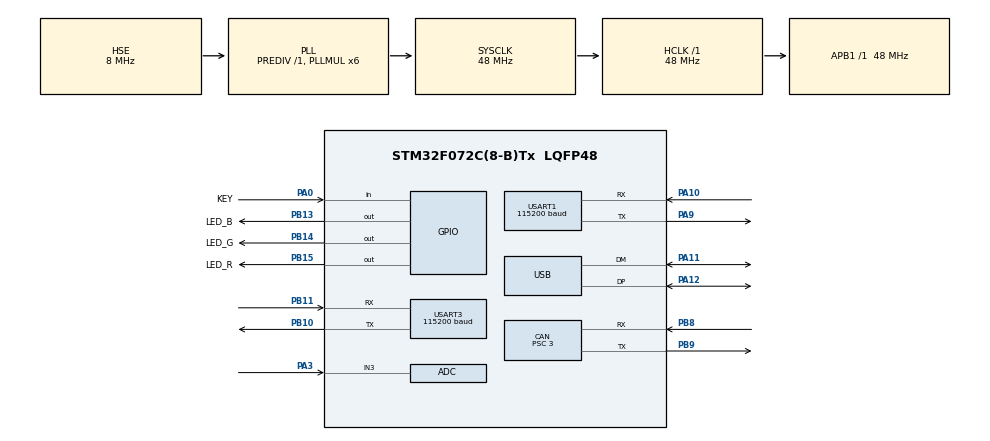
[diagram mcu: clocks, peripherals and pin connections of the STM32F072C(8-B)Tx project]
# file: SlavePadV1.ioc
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ADC.ContinuousConvMode=ENABLE
ADC.SamplingTime=ADC_SAMPLETIME_71CYCLES_5
CAN.BS1=CAN_BS1_10TQ
CAN.BS2=CAN_BS2_5TQ
CAN.CalculateBaudRate=1000000
CAN.CalculateTimeBit=1000.00
CAN.CalculateTimeQuantum=62.5
CAN.Prescaler=3
Mcu.Family=STM32F0
Mcu.Name=STM32F072C(8-B)Tx
Mcu.Package=LQFP48
NVIC.CEC_CAN_IRQn=true\:3\:0\:true\:false\:true\:true\:true
NVIC.TIM15_IRQn=true\:3\:0\:false\:false\:true\:false\:true
NVIC.TIM17_IRQn=true\:3\:0\:true\:false\:true\:true\:true
NVIC.TimeBase=TIM15_IRQn
NVIC.TimeBaseIP=TIM15
NVIC.USART1_IRQn=true\:3\:0\:true\:false\:true\:true\:true
NVIC.USART3_4_IRQn=true\:3\:0\:true\:false\:true\:true\:true
NVIC.USB_IRQn=true\:3\:0\:true\:false\:true\:false\:true
PA0.GPIO_Label=KEY
PA0.GPIO_PuPd=GPIO_PULLDOWN
PA0.Signal=GPIO_Input
PA10.Mode=Asynchronous
PA10.Signal=USART1_RX
PA11.Mode=Device
PA11.Signal=USB_DM
PA12.Mode=Device
PA12.Signal=USB_DP
PA13.Mode=Serial_Wire
PA13.Signal=SYS_SWDIO
PA14.Mode=Serial_Wire
PA14.Signal=SYS_SWCLK
PA3.Mode=IN3
PA3.Signal=ADC_IN3
PA9.Mode=Asynchronous
PA9.Signal=USART1_TX
PB10.Mode=Asynchronous
PB10.Signal=USART3_TX
PB11.Mode=Asynchronous
PB11.Signal=USART3_RX
PB13.GPIO_Label=LED_B
PB13.GPIO_Speed=GPIO_SPEED_FREQ_HIGH
PB13.PinState=GPIO_PIN_SET
PB13.Signal=GPIO_Output
PB14.GPIO_Label=LED_G
PB14.GPIO_Speed=GPIO_SPEED_FREQ_HIGH
PB14.PinState=GPIO_PIN_SET
PB14.Signal=GPIO_Output
PB15.GPIO_Label=LED_R
PB15.GPIO_Speed=GPIO_SPEED_FREQ_HIGH
PB15.PinState=GPIO_PIN_SET
PB15.Signal=GPIO_Output
PB8.Mode=CAN_Activate
PB8.Signal=CAN_RX
PB9.Mode=CAN_Activate
PB9.Signal=CAN_TX
PF0-OSC_IN.Mode=HSE-External-Oscillator
PF0-OSC_IN.Signal=RCC_OSC_IN
PF1-OSC_OUT.Mode=HSE-External-Oscillator
PF1-OSC_OUT.Signal=RCC_OSC_OUT
ProjectManager.HeapSize=0x200
ProjectManager.StackSize=0x400
ProjectManager.TargetToolchain=MDK-ARM V5.32
RCC.AHBFreq_Value=48000000
RCC.APB1Freq_Value=48000000
RCC.APB1TimFreq_Value=48000000
RCC.HCLKFreq_Value=48000000
RCC.PLLMUL=RCC_PLL_MUL6
RCC.PLLSourceVirtual=RCC_PLLSOURCE_HSE
RCC.SYSCLKFreq_VALUE=48000000
RCC.SYSCLKSource=RCC_SYSCLKSOURCE_PLLCLK
TIM17.AutoReloadPreload=TIM_AUTORELOAD_PRELOAD_ENABLE
TIM17.Period=1000-1
TIM17.Prescaler=48-1
USART1.BaudRate=115200
USART1.VirtualMode-Asynchronous=VM_ASYNC
USART3.BaudRate=115200
USART3.VirtualMode-Asynchronous=VM_ASYNC
USB_DEVICE.CLASS_NAME_FS=CDC
USB_DEVICE.VirtualMode=Cdc
USB_DEVICE.VirtualModeFS=Cdc_FS
VP_SYS_VS_tim15.Mode=TIM15
VP_TIM17_VS_ClockSourceINT.Mode=Enable_Timer
VP_USB_DEVICE_VS_USB_DEVICE_CDC_FS.Mode=CDC_FS
board=custom

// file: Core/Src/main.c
/* USER CODE BEGIN Header */
/**
  ******************************************************************************
  * @file           : main.c
  * @brief          : Main program body
  ******************************************************************************
  * @attention
  *
  * <h2><center>&copy; Copyright (c) 2024 STMicroelectronics.
  * All rights reserved.</center></h2>
  *
  * This software component is licensed by ST under Ultimate Liberty license
  * SLA0044, the "License"; You may not use this file except in compliance with
  * the License. You may obtain a copy of the License at:
  *                             www.st.com/SLA0044
  *
  ******************************************************************************
  */
/* USER CODE END Header */
#include "main.h"
#include "adc.h"
#include "can.h"
#include "tim.h"
#include "usart.h"
#include "usb_device.h"
#include "gpio.h"

/* USER CODE BEGIN Includes */
#include "Lime_canFliter.h"
#include "MotorTask.h"
#include "BspTask.h"
#include "BspInfo.h"
#include "DJI_Motor.h"
#include "ConnTask.h"
#include "stdio.h"
/* USER CODE END Includes */

void SystemClock_Config(void);

/* USER CODE BEGIN 0 */
extern void BspTask_Main(void const * argument);
/* USER CODE END 0 */

int main(void)
{

  /* MCU Configuration--------------------------------------------------------*/

  /* Reset of all peripherals, Initializes the Flash interface and the Systick. */
  HAL_Init();

  /* Configure the system clock */
  SystemClock_Config();

  /* Initialize all configured peripherals */
  MX_GPIO_Init();
  MX_ADC_Init();
  MX_USART1_UART_Init();
  MX_USB_DEVICE_Init();
  MX_CAN_Init();
  MX_TIM17_Init();
  MX_USART3_UART_Init();
  /* USER CODE BEGIN 2 */
	Lime_can_filter_init();
	DJI_Motor_Init();
	ScanBsp_Init();
	ConnTask_Init();
  /* USER CODE END 2 */

  /* Infinite loop */
  /* USER CODE BEGIN WHILE */
  while (1)
  {
		MotorTask_Handle(NULL);
		BspTask_Handle(NULL);
		ConnTask_Handle(NULL);

    /* USER CODE END WHILE */

  }
}

void SystemClock_Config(void)
{
  RCC_OscInitTypeDef RCC_OscInitStruct = {0};
  RCC_ClkInitTypeDef RCC_ClkInitStruct = {0};
  RCC_PeriphCLKInitTypeDef PeriphClkInit = {0};

  /** Initializes the RCC Oscillators according to the specified parameters
  * in the RCC_OscInitTypeDef structure.
  */
  RCC_OscInitStruct.OscillatorType = RCC_OSCILLATORTYPE_HSI14|RCC_OSCILLATORTYPE_HSI48
                              |RCC_OSCILLATORTYPE_HSE;
  RCC_OscInitStruct.HSEState = RCC_HSE_ON;
  RCC_OscInitStruct.HSI48State = RCC_HSI48_ON;
  RCC_OscInitStruct.HSI14State = RCC_HSI14_ON;
  RCC_OscInitStruct.HSI14CalibrationValue = 16;
  RCC_OscInitStruct.PLL.PLLState = RCC_PLL_ON;
  RCC_OscInitStruct.PLL.PLLSource = RCC_PLLSOURCE_HSE;
  RCC_OscInitStruct.PLL.PLLMUL = RCC_PLL_MUL6;
  RCC_OscInitStruct.PLL.PREDIV = RCC_PREDIV_DIV1;
  if (HAL_RCC_OscConfig(&RCC_OscInitStruct) != HAL_OK)
  {
    Error_Handler();
  }
  /** Initializes the CPU, AHB and APB buses clocks
  */
  RCC_ClkInitStruct.ClockType = RCC_CLOCKTYPE_HCLK|RCC_CLOCKTYPE_SYSCLK
                              |RCC_CLOCKTYPE_PCLK1;
  RCC_ClkInitStruct.SYSCLKSource = RCC_SYSCLKSOURCE_PLLCLK;
  RCC_ClkInitStruct.AHBCLKDivider = RCC_SYSCLK_DIV1;
  RCC_ClkInitStruct.APB1CLKDivider = RCC_HCLK_DIV1;

  if (HAL_RCC_ClockConfig(&RCC_ClkInitStruct, FLASH_LATENCY_1) != HAL_OK)
  {
    Error_Handler();
  }
  PeriphClkInit.PeriphClockSelection = RCC_PERIPHCLK_USB|RCC_PERIPHCLK_USART1;
  PeriphClkInit.Usart1ClockSelection = RCC_USART1CLKSOURCE_PCLK1;
  PeriphClkInit.UsbClockSelection = RCC_USBCLKSOURCE_HSI48;

  if (HAL_RCCEx_PeriphCLKConfig(&PeriphClkInit) != HAL_OK)
  {
    Error_Handler();
  }
}

void HAL_TIM_PeriodElapsedCallback(TIM_HandleTypeDef *htim)
{
  if (htim->Instance == TIM15) {
    HAL_IncTick();
  }
}

void Error_Handler(void)
{
  /* USER CODE BEGIN Error_Handler_Debug */
  /* User can add his own implementation to report the HAL error return state */
  __disable_irq();
	printf("Error_Handler\n");
  while (1)
  {
  }
  /* USER CODE END Error_Handler_Debug */
}

/************************ (C) COPYRIGHT STMicroelectronics *****END OF FILE****/
